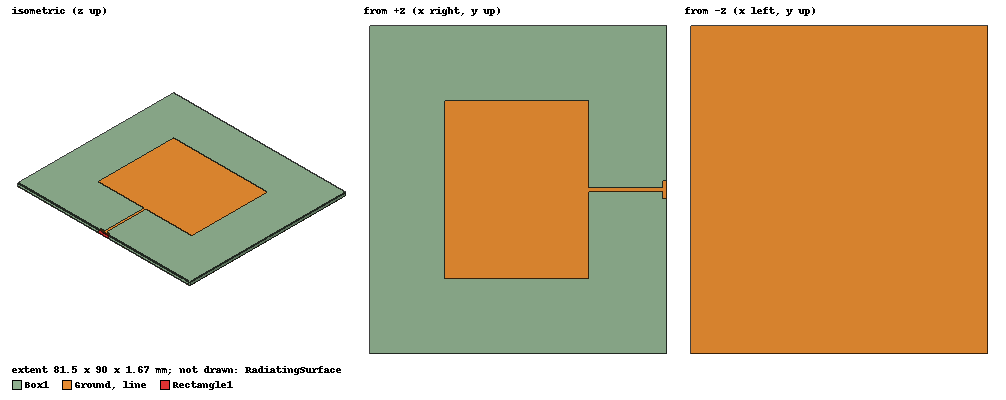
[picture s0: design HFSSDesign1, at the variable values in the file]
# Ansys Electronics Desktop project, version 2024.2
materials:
  vacuum: permittivity=1
  copper: permeability=0.999991 conductivity=58000000
  Rogers RT/duroid 5880 (tm): permittivity=2.2 dielectric_loss_tangent=0.0009

design HFSSDesign1 (HFSS, HFSS Modal Network, model units mm)
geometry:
  Ground [copper] = box(corner=((-80.5/2) mm, -45mm, 0mm), size=(81.5mm, 90mm, 0.035mm))
  Patch = box(corner=((-39.5/2) mm, (-49/2) mm, (0.035+1.6) mm), size=(39.5mm, 49mm, 0.035mm))
  feedline = box(corner=((80.5/2) mm, -0.5mm, (0.035+1.6) mm), size=(-20.5mm, 1mm, 0.035mm))
  Box1 [Rogers RT/duroid 5880 (tm)] = box(corner=((-80.5/2) mm, -45mm, 0.035mm), size=((80.5+1) mm, 90mm, 1.6mm))
  line [copper] = box(corner=((80.5/2) mm, (-4.8/2) mm, (0.035+1.6) mm), size=(1mm, 4.8mm, 0.035mm))
  line.unite(Patch, feedline)
  Rectangle1 = rectangle(corner=(41.25mm, (-4.8/2) mm, 1.67mm), y_size=4.8mm, z_size=-1.67mm)
  RadiatingSurface [vacuum] = region(absolute_offset=40.816327mm on all sides)
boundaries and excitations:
  Open1: Radiation Objects=RadiatingSurface
  1: Lumped Port Objects=Rectangle1 LumpedPortType=Default Modes{Mode1{IntLine{(41.25, 0, 0) -> (41.25, 0, 1.67)} CharImp=Zpi RenormImp=50ohm}} Impedance=50ohm
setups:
  Setup1: HfssDriven Frequency=2.45GHz MaxDeltaS=0.02 MaximumPasses=6 MinimumPasses=1 MinimumConvergedPasses=1 PercentRefinement=30 BasisOrder=1 PortAccuracy=2 DrivenSolverType="Direct Solver"
    sweep Sweep: 2GHz to 3GHz, 401 points; Type=Fast SaveFields
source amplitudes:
  1:1: 1W 0deg
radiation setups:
  3D: Infinite Sphere Theta=0deg..180deg step 2deg Phi=-180deg..180deg step 2deg
  Elevation: Infinite Sphere Theta=-180deg..180deg step 1deg Phi=0deg..90deg step 90deg
  Azimuth: Infinite Sphere Theta=90deg..90deg step 0deg Phi=-180deg..180deg step 1deg
  Infinite Sphere1: Infinite Sphere Theta=-180deg..180deg step 10deg Phi=0deg..360deg step 10deg
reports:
  S Parameter Plot 1: dB(S(1,1)) vs Freq on Setup1 : Sweep
  VSWR Plot 1: VSWR(1) vs Freq on Setup1 : Sweep
  Gain Plot 1: GainTotal vs Phi, Theta on Setup1 : LastAdaptive, 3D [Freq=2.45GHz]
  Gain Plot 2: GainTotal vs Phi, Theta on Setup1 : Sweep, 3D [Freq=2.45GHz]
  Gain Plot 3: dB(GainCoPolar), dB(GainCrossPolar) vs Theta on Setup1 : Sweep, Infinite Sphere1 [Phi=all Freq=2.45GHz]
  Gain Plot 4: dB(GainCoPolar), dB(GainCrossPolar) vs Theta on Setup1 : Sweep, Infinite Sphere1 [Phi=0deg Freq=2.45GHz]
  Gain Plot 5: dB(GainCoPolar), dB(GainCrossPolar) vs Theta on Setup1 : Sweep, Infinite Sphere1 [Phi=0deg Freq=2.5GHz]
  Gain Plot 6: dB(GainTotal) vs Freq on Setup1 : Sweep, 3D [Phi=0deg Theta=0deg]
